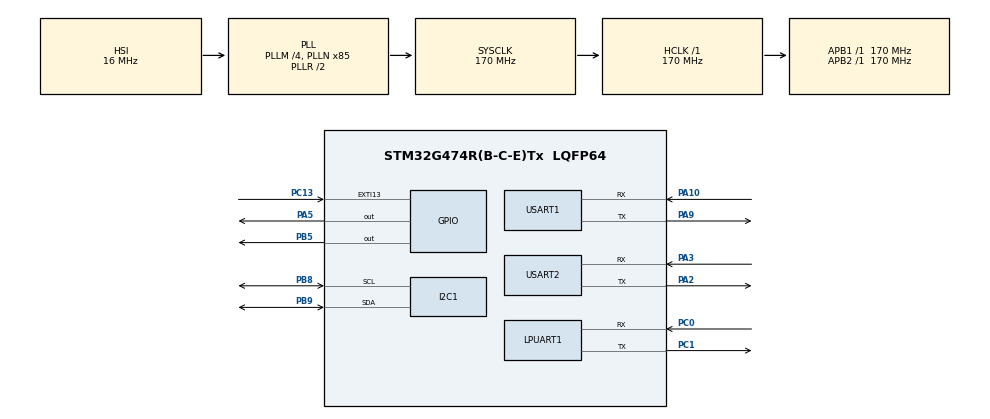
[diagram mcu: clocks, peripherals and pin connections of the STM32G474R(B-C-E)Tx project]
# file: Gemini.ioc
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I2C1.Timing=0x40B285C2
Mcu.Family=STM32G4
Mcu.Name=STM32G474R(B-C-E)Tx
Mcu.Package=LQFP64
NUCLEO-G474RE.BUTTON=1
NUCLEO-G474RE.LD2=true
NUCLEO-G474RE.VCP=false
NVIC.EXTI15_10_IRQn=true\:0\:0\:false\:false\:true\:true\:true\:true
NVIC.PriorityGroup=NVIC_PRIORITYGROUP_4
NVIC.USART1_IRQn=true\:0\:0\:false\:false\:true\:true\:true\:true
PA10.GPIO_Speed=GPIO_SPEED_FREQ_HIGH
PA10.Mode=Asynchronous
PA10.Signal=USART1_RX
PA13.GPIO_Label=T_SWDIO
PA13.Signal=SYS_JTMS-SWDIO
PA14.GPIO_Label=T_SWCLK
PA14.Signal=SYS_JTCK-SWCLK
PA2.Mode=Asynchronous
PA2.Signal=USART2_TX
PA3.Mode=Asynchronous
PA3.Signal=USART2_RX
PA5.Signal=GPIO_Output
PA9.GPIO_Speed=GPIO_SPEED_FREQ_HIGH
PA9.Mode=Asynchronous
PA9.Signal=USART1_TX
PB3.GPIO_Label=T_SWO
PB3.Signal=SYS_JTDO-SWO
PB5.Signal=GPIO_Output
PB8-BOOT0.GPIO_Pu=GPIO_NOPULL
PB8-BOOT0.Mode=I2C
PB8-BOOT0.Signal=I2C1_SCL
PB9.GPIO_Pu=GPIO_NOPULL
PB9.Mode=I2C
PB9.Signal=I2C1_SDA
PC0.Mode=Asynchronous
PC0.Signal=LPUART1_RX
PC1.Mode=Asynchronous
PC1.Signal=LPUART1_TX
PC13.Signal=GPXTI13
PC14-OSC32_IN.GPIO_Label=RCC_OSC32_IN
PC14-OSC32_IN.Mode=LSE-External-Oscillator
PC14-OSC32_IN.Signal=RCC_OSC32_IN
PC15-OSC32_OUT.GPIO_Label=RCC_OSC32_OUT
PC15-OSC32_OUT.Mode=LSE-External-Oscillator
PC15-OSC32_OUT.Signal=RCC_OSC32_OUT
PF0-OSC_IN.GPIO_Label=RCC_OSC_IN
PF0-OSC_IN.Mode=HSE-External-Oscillator
PF0-OSC_IN.Signal=RCC_OSC_IN
PF1-OSC_OUT.GPIO_Label=RCC_OSC_OUT
PF1-OSC_OUT.Mode=HSE-External-Oscillator
PF1-OSC_OUT.Signal=RCC_OSC_OUT
ProjectManager.HeapSize=0x200
ProjectManager.StackSize=0x400
ProjectManager.TargetToolchain=STM32CubeIDE
RCC.ADC12Freq_Value=170000000
RCC.ADC345Freq_Value=170000000
RCC.AHBFreq_Value=170000000
RCC.APB1Freq_Value=170000000
RCC.APB1TimFreq_Value=170000000
RCC.APB2Freq_Value=170000000
RCC.APB2TimFreq_Value=170000000
RCC.CortexFreq_Value=170000000
RCC.EXTERNAL_CLOCK_VALUE=12288000
RCC.HCLKFreq_Value=170000000
RCC.HSE_VALUE=24000000
RCC.HSI48_VALUE=48000000
RCC.HSI_VALUE=16000000
RCC.PLLM=RCC_PLLM_DIV4
RCC.PLLN=85
RCC.RTCClockSelection=RCC_RTCCLKSOURCE_LSE
RCC.SYSCLKFreq_VALUE=170000000
RCC.SYSCLKSource=RCC_SYSCLKSOURCE_PLLCLK
RCC.USBFreq_Value=170000000
RCC.VCOOutputFreq_Value=340000000
USART1.VirtualMode-Asynchronous=VM_ASYNC
USART2.VirtualMode-Asynchronous=VM_ASYNC
VP_NUCLEO-G474RE_VS_BSP_COMMON.Mode=COMMON
VP_SYS_VS_DBSignals.Mode=DisableDeadBatterySignals
board=NUCLEO-G474RE

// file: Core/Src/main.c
/* USER CODE BEGIN Header */
/**
  ******************************************************************************
  * @file           : main.c
  * @brief          : Main program body
  ******************************************************************************
  * @attention
  *
  * Copyright (c) 2025 STMicroelectronics.
  * All rights reserved.
  *
  * This software is licensed under terms that can be found in the LICENSE file
  * in the root directory of this software component.
  * If no LICENSE file comes with this software, it is provided AS-IS.
  *
  ******************************************************************************
  */
/* USER CODE END Header */
#include "main.h"

/* USER CODE BEGIN Includes */
#include <string.h>
#include <stdio.h>
#include "ssd1306/ssd1306.h"
#include "ssd1306/ssd1306_fonts.h"
/* USER CODE END Includes */

/* USER CODE BEGIN PD */
#define REG_TEMP		   0x00
#define REG_CONF           0x01
#define REG_THYST          0x02
#define REG_TOS            0x03

/* USER CODE END PD */

I2C_HandleTypeDef hi2c1;

UART_HandleTypeDef hlpuart1;
UART_HandleTypeDef huart1;
UART_HandleTypeDef huart2;

/* USER CODE BEGIN PV */
static const uint8_t LM75A = 0x48 << 1;

// Stati del sistema
typedef enum {
    STATE_NORMAL,
    STATE_WAIT_RESPONSE,
    STATE_RESPONSE_RECEIVED,
    STATE_POST_RESPONSE_WAIT
} SystemState_t;

volatile SystemState_t system_state = STATE_NORMAL;
volatile uint8_t rx_data_ready = 1;
uint8_t  rxBuf[8];
uint32_t postResponseTick;

static const char alarmMsg[] = "FRALRM\r\n";
static uint32_t lastPress = 0;

/* USER CODE END PV */

void SystemClock_Config(void);
static void MX_GPIO_Init(void);
static void MX_I2C1_Init(void);
static void MX_USART2_UART_Init(void);
static void MX_USART1_UART_Init(void);
static void MX_LPUART1_UART_Init(void);

/* USER CODE BEGIN 0 */

// Ridefinizione Callback di ricezione UART (interrupt)
void HAL_UART_RxCpltCallback(UART_HandleTypeDef *huart) {
    // if (huart->Instance == USART1 && system_state == STATE_WAIT_RESPONSE) {
	// if (huart->Instance == USART1) {
	if (huart->Instance == USART1) {
        // terminatore stringa
        //rxBuf[8] = '\0';
        system_state = STATE_RESPONSE_RECEIVED;
        rx_data_ready = 1;

        // Preparazione USART prossima ricezione
        HAL_UART_Receive_IT(&huart1, rxBuf, 8);
    }
}

// Ridefinizione Callback Interruzione Pressione Pulsante
void BSP_PB_Callback(Button_TypeDef Button)
{
  if (Button == BUTTON_USER && system_state == STATE_RESPONSE_RECEIVED)
  {
    uint32_t now = HAL_GetTick();
    if (now - lastPress > 200) // debounce delay 200 ms
    {
      lastPress = now;
      system_state = STATE_NORMAL;
      HAL_GPIO_WritePin(GPIOB, GPIO_PIN_5, GPIO_PIN_RESET);

    }
  }
}
/* USER CODE END 0 */

int main(void)
{

  /* USER CODE BEGIN 1 */
  int cont = 0;
  float soglia = 30.0f;
  /* USER CODE END 1 */

  /* MCU Configuration--------------------------------------------------------*/

  /* Reset of all peripherals, Initializes the Flash interface and the Systick. */
  HAL_Init();

  /* Configure the system clock */
  SystemClock_Config();

  /* Initialize all configured peripherals */
  MX_GPIO_Init();
  MX_I2C1_Init();
  MX_USART2_UART_Init();
  MX_USART1_UART_Init();
  MX_LPUART1_UART_Init();
  /* USER CODE BEGIN 2 */
  HAL_NVIC_SetPriority(USART1_IRQn, 1, 0);
  HAL_NVIC_EnableIRQ(USART1_IRQn);

  // Preparazione USART
  // __HAL_UART_ENABLE_IT(&huart1,UART_IT_RXNE);
  HAL_UART_Receive_IT(&huart1, rxBuf, 8);
  ssd1306_Init();

  /* USER CODE END 2 */

  /* Initialize led */
  BSP_LED_Init(LED_GREEN);

  /* Initialize USER push-button, will be used to trigger an interrupt each time it's pressed.*/
  BSP_PB_Init(BUTTON_USER, BUTTON_MODE_EXTI);

  /* Infinite loop */
  /* USER CODE BEGIN WHILE */
  while (1)
  {

	  if (rx_data_ready == 1){

		  rx_data_ready = 0;

		  if (system_state == STATE_WAIT_RESPONSE){
			  system_state = STATE_RESPONSE_RECEIVED;
		  }
	  }

	  switch(system_state) {

	              case STATE_NORMAL: {
	                  // Modalità normale: leggo e stampo la temperatura
	                  uint8_t cmd = REG_TEMP;
	                  if (HAL_I2C_Master_Transmit(&hi2c1, LM75A, &cmd, 1, HAL_MAX_DELAY) == HAL_OK) {
	                      uint8_t data[2];
	                      if (HAL_I2C_Master_Receive(&hi2c1, LM75A, data, 2, HAL_MAX_DELAY) == HAL_OK) {
	                          int16_t raw = ((int16_t)data[0] << 8) | data[1];
	                          raw >>= 5;
	                          float temp = raw * 0.125f;
	                          char temp_s[16];
	                          snprintf(temp_s, sizeof(temp_s), "T: %.2f C", temp);

	                          ssd1306_Fill(Black);
	                          ssd1306_SetCursor(2, 2);
	                          ssd1306_WriteString("Temperatura corrente:", Font_6x8, White);
	                          ssd1306_SetCursor(2, 20);
	                          ssd1306_WriteString(temp_s, Font_7x10, Black);
	                          ssd1306_UpdateScreen();

	                          if (temp > soglia){
	                        	  cont ++;
	                        	  if (cont == 4){
	                        		  cont = 0;
	                        		  // Invio l'allarme e lo stampo
									  // const char alarmMsg[] = "ALLARME Fratm\r\n";

	                        		  HAL_UART_Transmit(&huart1, (uint8_t*)alarmMsg, 8, HAL_MAX_DELAY);

									  ssd1306_Fill(Black);
									  ssd1306_SetCursor(2, 20);
									  ssd1306_WriteString("ALLARME INCENDIO", Font_7x10, White);
									  ssd1306_UpdateScreen();
									  HAL_GPIO_WritePin(GPIOB, GPIO_PIN_5, GPIO_PIN_SET);

									  // passo a stato di attesa risposta
									  system_state = STATE_WAIT_RESPONSE;
	                        	  }
	                          }
	                          else{
	                        	  cont = 0;
	                          }
	                      }
	                  }
	                  HAL_Delay(100);
	                  break;
	              }

	              case STATE_WAIT_RESPONSE: {

	                  uint8_t cmd = REG_TEMP;
					  if (HAL_I2C_Master_Transmit(&hi2c1, LM75A, &cmd, 1, HAL_MAX_DELAY) == HAL_OK) {
						  uint8_t data[2];
						  if (HAL_I2C_Master_Receive(&hi2c1, LM75A, data, 2, HAL_MAX_DELAY) == HAL_OK) {
							  int16_t raw = ((int16_t)data[0] << 8) | data[1];
							  raw >>= 5;
							  float temp = raw * 0.125f;
							  char temp_s[16];
							  snprintf(temp_s, sizeof(temp_s), "T: %.2f C", temp);

							  ssd1306_SetCursor(40, 45);
							  ssd1306_WriteString(temp_s, Font_7x10, Black);
							  ssd1306_UpdateScreen();

						  }
					  }
					  HAL_Delay(100);
					  break;
	              }

	              case STATE_RESPONSE_RECEIVED: {
	                  // Appena arriva la risposta UART (gestita in RxCpltCallback)
	                  ssd1306_Fill(Black);
	                  ssd1306_SetCursor(20,18);
	                  ssd1306_WriteString("SOCCORSI", Font_11x18, White);
	                  ssd1306_SetCursor(14,37);
	                  ssd1306_WriteString("IN ARRIVO", Font_11x18, White);
	                  ssd1306_UpdateScreen();

	                  break;
	              }

	              default: {
	            	  break;
	              }

	          }

    /* USER CODE END WHILE */

  }
}

void SystemClock_Config(void)
{
  RCC_OscInitTypeDef RCC_OscInitStruct = {0};
  RCC_ClkInitTypeDef RCC_ClkInitStruct = {0};

  /** Configure the main internal regulator output voltage
  */
  HAL_PWREx_ControlVoltageScaling(PWR_REGULATOR_VOLTAGE_SCALE1_BOOST);

  /** Initializes the RCC Oscillators according to the specified parameters
  * in the RCC_OscInitTypeDef structure.
  */
  RCC_OscInitStruct.OscillatorType = RCC_OSCILLATORTYPE_HSI;
  RCC_OscInitStruct.HSIState = RCC_HSI_ON;
  RCC_OscInitStruct.HSICalibrationValue = RCC_HSICALIBRATION_DEFAULT;
  RCC_OscInitStruct.PLL.PLLState = RCC_PLL_ON;
  RCC_OscInitStruct.PLL.PLLSource = RCC_PLLSOURCE_HSI;
  RCC_OscInitStruct.PLL.PLLM = RCC_PLLM_DIV4;
  RCC_OscInitStruct.PLL.PLLN = 85;
  RCC_OscInitStruct.PLL.PLLP = RCC_PLLP_DIV2;
  RCC_OscInitStruct.PLL.PLLQ = RCC_PLLQ_DIV2;
  RCC_OscInitStruct.PLL.PLLR = RCC_PLLR_DIV2;
  if (HAL_RCC_OscConfig(&RCC_OscInitStruct) != HAL_OK)
  {
    Error_Handler();
  }

  /** Initializes the CPU, AHB and APB buses clocks
  */
  RCC_ClkInitStruct.ClockType = RCC_CLOCKTYPE_HCLK|RCC_CLOCKTYPE_SYSCLK
                              |RCC_CLOCKTYPE_PCLK1|RCC_CLOCKTYPE_PCLK2;
  RCC_ClkInitStruct.SYSCLKSource = RCC_SYSCLKSOURCE_PLLCLK;
  RCC_ClkInitStruct.AHBCLKDivider = RCC_SYSCLK_DIV1;
  RCC_ClkInitStruct.APB1CLKDivider = RCC_HCLK_DIV1;
  RCC_ClkInitStruct.APB2CLKDivider = RCC_HCLK_DIV1;

  if (HAL_RCC_ClockConfig(&RCC_ClkInitStruct, FLASH_LATENCY_4) != HAL_OK)
  {
    Error_Handler();
  }
}

static void MX_I2C1_Init(void)
{

  hi2c1.Instance = I2C1;
  hi2c1.Init.Timing = 0x40B285C2;
  hi2c1.Init.OwnAddress1 = 0;
  hi2c1.Init.AddressingMode = I2C_ADDRESSINGMODE_7BIT;
  hi2c1.Init.DualAddressMode = I2C_DUALADDRESS_DISABLE;
  hi2c1.Init.OwnAddress2 = 0;
  hi2c1.Init.OwnAddress2Masks = I2C_OA2_NOMASK;
  hi2c1.Init.GeneralCallMode = I2C_GENERALCALL_DISABLE;
  hi2c1.Init.NoStretchMode = I2C_NOSTRETCH_DISABLE;
  if (HAL_I2C_Init(&hi2c1) != HAL_OK)
  {
    Error_Handler();
  }

  /** Configure Analogue filter
  */
  if (HAL_I2CEx_ConfigAnalogFilter(&hi2c1, I2C_ANALOGFILTER_ENABLE) != HAL_OK)
  {
    Error_Handler();
  }

  /** Configure Digital filter
  */
  if (HAL_I2CEx_ConfigDigitalFilter(&hi2c1, 0) != HAL_OK)
  {
    Error_Handler();
  }

}

static void MX_LPUART1_UART_Init(void)
{

  hlpuart1.Instance = LPUART1;
  hlpuart1.Init.BaudRate = 209700;
  hlpuart1.Init.WordLength = UART_WORDLENGTH_8B;
  hlpuart1.Init.StopBits = UART_STOPBITS_1;
  hlpuart1.Init.Parity = UART_PARITY_NONE;
  hlpuart1.Init.Mode = UART_MODE_TX_RX;
  hlpuart1.Init.HwFlowCtl = UART_HWCONTROL_NONE;
  hlpuart1.Init.OneBitSampling = UART_ONE_BIT_SAMPLE_DISABLE;
  hlpuart1.Init.ClockPrescaler = UART_PRESCALER_DIV1;
  hlpuart1.AdvancedInit.AdvFeatureInit = UART_ADVFEATURE_NO_INIT;
  if (HAL_UART_Init(&hlpuart1) != HAL_OK)
  {
    Error_Handler();
  }
  if (HAL_UARTEx_SetTxFifoThreshold(&hlpuart1, UART_TXFIFO_THRESHOLD_1_8) != HAL_OK)
  {
    Error_Handler();
  }
  if (HAL_UARTEx_SetRxFifoThreshold(&hlpuart1, UART_RXFIFO_THRESHOLD_1_8) != HAL_OK)
  {
    Error_Handler();
  }
  if (HAL_UARTEx_DisableFifoMode(&hlpuart1) != HAL_OK)
  {
    Error_Handler();
  }

}

static void MX_USART1_UART_Init(void)
{

  huart1.Instance = USART1;
  huart1.Init.BaudRate = 115200;
  huart1.Init.WordLength = UART_WORDLENGTH_8B;
  huart1.Init.StopBits = UART_STOPBITS_1;
  huart1.Init.Parity = UART_PARITY_NONE;
  huart1.Init.Mode = UART_MODE_TX_RX;
  huart1.Init.HwFlowCtl = UART_HWCONTROL_NONE;
  huart1.Init.OverSampling = UART_OVERSAMPLING_16;
  huart1.Init.OneBitSampling = UART_ONE_BIT_SAMPLE_DISABLE;
  huart1.Init.ClockPrescaler = UART_PRESCALER_DIV1;
  huart1.AdvancedInit.AdvFeatureInit = UART_ADVFEATURE_NO_INIT;
  if (HAL_UART_Init(&huart1) != HAL_OK)
  {
    Error_Handler();
  }
  if (HAL_UARTEx_SetTxFifoThreshold(&huart1, UART_TXFIFO_THRESHOLD_1_8) != HAL_OK)
  {
    Error_Handler();
  }
  if (HAL_UARTEx_SetRxFifoThreshold(&huart1, UART_RXFIFO_THRESHOLD_1_8) != HAL_OK)
  {
    Error_Handler();
  }
  if (HAL_UARTEx_DisableFifoMode(&huart1) != HAL_OK)
  {
    Error_Handler();
  }

}

static void MX_USART2_UART_Init(void)
{

  huart2.Instance = USART2;
  huart2.Init.BaudRate = 115200;
  huart2.Init.WordLength = UART_WORDLENGTH_8B;
  huart2.Init.StopBits = UART_STOPBITS_1;
  huart2.Init.Parity = UART_PARITY_NONE;
  huart2.Init.Mode = UART_MODE_TX_RX;
  huart2.Init.HwFlowCtl = UART_HWCONTROL_NONE;
  huart2.Init.OverSampling = UART_OVERSAMPLING_16;
  huart2.Init.OneBitSampling = UART_ONE_BIT_SAMPLE_DISABLE;
  huart2.Init.ClockPrescaler = UART_PRESCALER_DIV1;
  huart2.AdvancedInit.AdvFeatureInit = UART_ADVFEATURE_NO_INIT;
  if (HAL_UART_Init(&huart2) != HAL_OK)
  {
    Error_Handler();
  }
  if (HAL_UARTEx_SetTxFifoThreshold(&huart2, UART_TXFIFO_THRESHOLD_1_8) != HAL_OK)
  {
    Error_Handler();
  }
  if (HAL_UARTEx_SetRxFifoThreshold(&huart2, UART_RXFIFO_THRESHOLD_1_8) != HAL_OK)
  {
    Error_Handler();
  }
  if (HAL_UARTEx_DisableFifoMode(&huart2) != HAL_OK)
  {
    Error_Handler();
  }

}

static void MX_GPIO_Init(void)
{
  GPIO_InitTypeDef GPIO_InitStruct = {0};

  /* GPIO Ports Clock Enable */
  __HAL_RCC_GPIOC_CLK_ENABLE();
  __HAL_RCC_GPIOF_CLK_ENABLE();
  __HAL_RCC_GPIOA_CLK_ENABLE();
  __HAL_RCC_GPIOB_CLK_ENABLE();

  /*Configure GPIO pin Output Level */
  HAL_GPIO_WritePin(GPIOB, GPIO_PIN_5, GPIO_PIN_RESET);

  /*Configure GPIO pin : PB5 */
  GPIO_InitStruct.Pin = GPIO_PIN_5;
  GPIO_InitStruct.Mode = GPIO_MODE_OUTPUT_PP;
  GPIO_InitStruct.Pull = GPIO_NOPULL;
  GPIO_InitStruct.Speed = GPIO_SPEED_FREQ_LOW;
  HAL_GPIO_Init(GPIOB, &GPIO_InitStruct);

}

void Error_Handler(void)
{
  __disable_irq();
  while (1)
  {
  }
}
